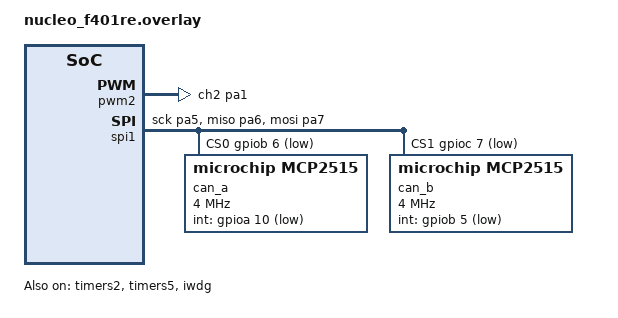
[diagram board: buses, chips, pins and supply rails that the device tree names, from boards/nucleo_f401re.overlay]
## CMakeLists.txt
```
cmake_minimum_required(VERSION 3.20.0)

set(USER_CACHE_DIR "${CMAKE_CURRENT_SOURCE_DIR}/.cache/zephyr" CACHE PATH "Zephyr cache")

if(NOT DTC_OVERLAY_FILE)
  set(DTC_OVERLAY_FILE "${CMAKE_CURRENT_SOURCE_DIR}/boards/nucleo_f401re.overlay")
endif()

find_package(Zephyr REQUIRED HINTS $ENV{ZEPHYR_BASE})
project(lab5_consensus)
include(cmake/preemptive_can.cmake)

# Generate cluster_config.h from the one configuration file every node shares.
set(LAB_CLUSTER_CONF "${CMAKE_CURRENT_SOURCE_DIR}/config/cluster.conf")
set(LAB_CONFIG_HEADER "${CMAKE_CURRENT_BINARY_DIR}/lab5_generated/cluster_config.h")
add_custom_command(
  OUTPUT ${LAB_CONFIG_HEADER}
  COMMAND ${CMAKE_COMMAND} -E env ${PYTHON_EXECUTABLE}
          "${CMAKE_CURRENT_SOURCE_DIR}/tools/gen_config.py"
          "${LAB_CLUSTER_CONF}" "${LAB_CONFIG_HEADER}"
  DEPENDS ${LAB_CLUSTER_CONF}
          "${CMAKE_CURRENT_SOURCE_DIR}/tools/gen_config.py"
          "${CMAKE_CURRENT_SOURCE_DIR}/pi/demo/cluster_config.py"
  COMMENT "Generating cluster_config.h from config/cluster.conf"
  VERBATIM)
add_custom_target(lab5_config DEPENDS ${LAB_CONFIG_HEADER})
add_dependencies(app lab5_config)

set(LAB_NODE_ID "2" CACHE STRING "Nucleo node number: 2 (front) or 3 (rear)")
if(NOT LAB_NODE_ID MATCHES "^[23]$")
  message(FATAL_ERROR "LAB_NODE_ID must be 2 or 3")
endif()
set(LAB_TRACE_TASK "-1" CACHE STRING "GPIO PC11 envelope: task index 0..8, or -1 disabled")
set(LAB_MEASURE_MODE "0" CACHE STRING "0 normal, 1 RX only, 2 N3 DRIVE, 3 N2 RELAY")
if(NOT LAB_MEASURE_MODE MATCHES "^[0-3]$")
  message(FATAL_ERROR "LAB_MEASURE_MODE must be 0..3")
endif()
if((LAB_MEASURE_MODE STREQUAL "2" AND NOT LAB_NODE_ID STREQUAL "3") OR
   (LAB_MEASURE_MODE STREQUAL "3" AND NOT LAB_NODE_ID STREQUAL "2"))
  message(FATAL_ERROR "DRIVE measurement needs N3; RELAY measurement needs N2")
endif()
target_compile_definitions(app PRIVATE LAB_MEASURE_MODE=${LAB_MEASURE_MODE})
option(LAB_DIAGNOSTICS "Enable intrusive periodic console timing summaries" OFF)
option(LAB_PIN_SELFTEST "Walk the Lab 5 outputs once at boot so each can be identified" OFF)
target_compile_definitions(app PRIVATE LAB_PIN_SELFTEST=$<BOOL:${LAB_PIN_SELFTEST}>)
target_compile_definitions(app PRIVATE LAB_DIAGNOSTICS=$<BOOL:${LAB_DIAGNOSTICS}> LAB_NODE_ID=${LAB_NODE_ID} LAB_TRACE_TASK=${LAB_TRACE_TASK})

target_sources(app PRIVATE
  src/main.c
  src/lab_protocol.c
  src/lab_io.c
  src/lab_can.c
  src/lab_tasks.c
  src/raft_agent.c
  src/raft_log.c
  src/network_state.c
  src/time_sync.c
  src/pps.c
  src/election.c
)
target_include_directories(app PRIVATE include "${CMAKE_CURRENT_BINARY_DIR}/lab5_generated")
```

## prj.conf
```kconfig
# ST-LINK virtual COM port, 115200 baud; USART1 is disabled in the overlay.
CONFIG_SERIAL=y
CONFIG_CONSOLE=y
CONFIG_UART_CONSOLE=y
CONFIG_PRINTK=y
CONFIG_LOG=y

CONFIG_GPIO=y
CONFIG_SPI=y
CONFIG_CAN=y
CONFIG_CAN_MCP2515=y
CONFIG_CAN_DEFAULT_BITRATE=500000

# Application-local CMake adaptation makes both RX workers preemptive priority 0.
CONFIG_CAN_MCP2515_INT_THREAD_PRIO=0
CONFIG_CAN_MCP2515_INT_THREAD_STACK_SIZE=1024
CONFIG_DEBUG_OPTIMIZATIONS=y
CONFIG_DEBUG_THREAD_INFO=y
CONFIG_STM32_ENABLE_DEBUG_SLEEP_STOP=y

CONFIG_PWM=y
CONFIG_WATCHDOG=y
# clock_settime(), required by Part 6. POSIX_TIMERS sits under the POSIX system
# interfaces gate, which is off by default, so both symbols are needed. This
# pulls in the clock and timer option group only; nothing else here uses POSIX.
CONFIG_POSIX_SYSTEM_INTERFACES=y
CONFIG_POSIX_TIMERS=y
CONFIG_NUM_PREEMPT_PRIORITIES=16
CONFIG_MAIN_STACK_SIZE=2048
CONFIG_SYSTEM_WORKQUEUE_STACK_SIZE=1024
CONFIG_THREAD_NAME=y
```

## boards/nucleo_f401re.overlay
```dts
#include <zephyr/dt-bindings/gpio/gpio.h>

/ {
	chosen {
		zephyr,canbus = &can_a;
	};

	aliases {
		can-a = &can_a;
		can-b = &can_b;
		/delete-property/ led0;
		/delete-property/ pwm-led0;
	};
};

/* PB6 belongs to CAN A chip select; console remains on USART2. */
&usart1 {
	status = "disabled";
};

/* PA5 belongs to SPI1 SCK; do not configure it as an LED or PWM output. */
&green_led_2 {
	status = "disabled";
};

&green_pwm_led {
	status = "disabled";
};

&timers2 {
	status = "okay";
};

&pwm2 {
	status = "okay";
	pinctrl-0 = <&tim2_ch2_pa1>;
	pinctrl-names = "default";
};

/*
 * TIM5 is the pulse per second time base and the timestamp source for the whole
 * sync path. It is 32 bit, which at the 1 MHz pps.c prescales it to wraps every
 * 71 minutes rather than the 51 seconds a 32 bit counter at the core clock
 * would give. No driver binds this node; pps.c takes the register base and the
 * clock specifier from it and configures PA0 as TIM5 channel 1 itself, because
 * the timers binding carries no pinctrl property. The pwm child stays disabled.
 */
&timers5 {
	status = "okay";
};

&spi2 {
	status = "disabled";
};

&spi1 {
	status = "okay";
	pinctrl-0 = <&spi1_sck_pa5 &spi1_miso_pa6 &spi1_mosi_pa7>;
	pinctrl-names = "default";
	cs-gpios = <&gpiob 6 (GPIO_ACTIVE_LOW | GPIO_PULL_UP)>,
		   <&gpioc 7 (GPIO_ACTIVE_LOW | GPIO_PULL_UP)>;

	can_a: can@0 {
		compatible = "microchip,mcp2515";
		reg = <0>;
		/* Requested ceiling; STM32 SPI1 divides 84 MHz to 2.625 MHz. */
		spi-max-frequency = <4000000>;
		osc-freq = <16000000>;
		bitrate = <500000>;
		int-gpios = <&gpioa 10 GPIO_ACTIVE_LOW>;
		status = "okay";

		can-transceiver {
			max-bitrate = <1000000>;
		};
	};

	can_b: can@1 {
		compatible = "microchip,mcp2515";
		reg = <1>;
		spi-max-frequency = <4000000>;
		osc-freq = <16000000>;
		bitrate = <500000>;
		int-gpios = <&gpiob 5 GPIO_ACTIVE_LOW>;
		status = "okay";

		can-transceiver {
			max-bitrate = <1000000>;
		};
	};
};

/*
 * Lab 5 outputs live on GPIOA and GPIOB as well as GPIOC, so state all three
 * explicitly rather than relying on the devicetree default.
 */
&gpioa {
	status = "okay";
};

&gpiob {
	status = "okay";
};

&gpioc {
	status = "okay";
};

/* Free trace PC9 and use the independent watchdog. */
&i2c3 {
	status = "disabled";
};

&wwdg {
	status = "disabled";
};

&iwdg {
	status = "okay";
};
```

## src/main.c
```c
/* SPDX-License-Identifier: Apache-2.0 */
/** @file main.c
 * @brief Start the task set and report the identity and configuration of this node.
 */
#include "cluster_config.h"
#include "lab_io.h"
#include "lab_protocol.h"
#include "lab_tasks.h"
#include "raft_agent.h"
#include <zephyr/sys/printk.h>

/** @brief Milliseconds each Lab 5 output is held high during the boot pin walk. */
#define SELFTEST_STEP_MS 250

/** @brief Print identity, configuration and the Lab 5 identifier allocation.
 *
 * The configuration hash must read the same on all three consoles. A node that
 * differs was flashed or started from a stale config/cluster.conf.
 */
static void banner(void)
{
	printk("\n=== Lab 5 node %d (%s) ===\n", LAB_NODE_ID, lab_node_name(LAB_NODE_ID));
	printk("config  hash=%s N=%d majority=%d leader=%s debug=%d seed=%d\n",
	       LAB5_CFG_HASH, LAB5_CFG_N, LAB5_CFG_MAJORITY,
	       LAB5_CFG_DEFAULT_LEADER_NAME, LAB5_CFG_DEBUG, LAB5_CFG_ELECTION_SEED);
	printk("timing  heartbeat=%d ms missed=%d election=%d..%d ms log_size=%d\n",
	       LAB5_CFG_HEARTBEAT_MS, LAB5_CFG_MISSED_HEARTBEATS,
	       LAB5_CFG_ELECTION_MIN_MS, LAB5_CFG_ELECTION_MAX_MS, LAB5_CFG_LOG_SIZE);
	printk("can     REF=0x%03x APPEND=0x%03x ACK=0x%03x REQ_VOTE=0x%03x\n",
	       LAB5_REF, LAB5_APPEND, lab5_id_for(LAB5_APPEND_ACK_BASE, LAB_NODE_ID),
	       lab5_id_for(LAB5_REQ_VOTE_BASE, LAB_NODE_ID));
	printk("can     VOTE=0x%03x CLIENT=0x%03x REDIRECT=0x%03x filter=0x%03x/0x%03x\n",
	       lab5_id_for(LAB5_VOTE_BASE, LAB_NODE_ID),
	       lab5_id_for(LAB5_CLIENT_REQ_BASE, LAB_NODE_ID),
	       lab5_id_for(LAB5_CLIENT_REDIRECT, LAB_NODE_ID),
	       LAB5_FILTER_ID, LAB5_FILTER_MASK);
}

/** @brief Report identity, optionally walk the new pins, then start the tasks.
 * @return Initialization status from lab_tasks_start().
 */
int main(void)
{
	banner();
	printk("NO physical actuators: simulated PID, dummy FORCE\n");
#if LAB_PIN_SELFTEST
	printk("pin walk: LEADER, SYNC, REF_RX, HZ, PPS at %d ms, twice\n",
	       SELFTEST_STEP_MS);
	lab_io_selftest(SELFTEST_STEP_MS);
#endif
	int rc = lab_tasks_start();

	printk("raft    term=%u role=%s leader=%s synced=%d\n", raft_term(),
	       raft_role() == RAFT_LEADER ? "LEADER" : "FOLLOWER",
	       lab_node_name(raft_leader()), (int)raft_synced());
	printk("Measurement mode: %d (0 = normal)\n", LAB_MEASURE_MODE);
	printk("Task startup: %d; relay node=%d\n", rc, LAB_NODE_ID);
	return rc;
}
```

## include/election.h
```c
/* SPDX-License-Identifier: Apache-2.0 */
/** @file election.h
 * @brief Deterministic election timeouts, seeded so a demo can be repeated.
 *
 * Raft breaks ties between candidates with a random election timeout. A
 * hardware entropy source would do that correctly and make the demo
 * unrepeatable, which is the wrong trade here: checkoff step 8 asks for "the
 * seed that makes the Pi win", so the draw has to be a function of something
 * the operator sets (TASKS.md D14).
 *
 * The sequence is per node: seeding mixes the configured seed with the local
 * node ID, so one seed in the shared configuration file gives each node a
 * different series of draws while every node still agrees on what the seed
 * was. `tools/find_seed.py` searches for a seed whose first draws elect a
 * chosen node.
 *
 * Pure C with no Zephyr dependency, so the host tests run it directly and the
 * Pi mirrors it exactly.
 */
#ifndef ELECTION_H_
#define ELECTION_H_
#include <stdint.h>
/** @brief Start the per node sequence.
 * @param state Generator state to initialize.
 * @param seed Configured seed, shared by every node.
 * @param node Local node ID, which makes the sequence differ per node.
 */
void election_seed(uint32_t *state, uint32_t seed, int node);
/** @brief Draw the next election timeout.
 *
 * The handout's formula: missed_heartbeats * heartbeat_ms + U(0, jitter), so
 * 60 to 99 ms with the defaults. Drawn fresh for every election round, because
 * a timeout reused across rounds would make two nodes that collided once
 * collide again forever.
 * @param state Generator state, advanced in place.
 * @param base_ms Fixed part, missed_heartbeats * heartbeat_ms.
 * @param jitter_ms Width of the random part; zero gives base_ms exactly.
 * @return Timeout in milliseconds.
 */
uint32_t election_timeout_ms(uint32_t *state, uint32_t base_ms, uint32_t jitter_ms);
#endif
```

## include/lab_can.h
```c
/* SPDX-License-Identifier: Apache-2.0 */
/** @file lab_can.h
 * @brief Bounded dual-CAN transport; application dispatch owns deduplication.
 */
#ifndef LAB_CAN_H_
#define LAB_CAN_H_
#include <zephyr/drivers/can.h>
/** @brief Received frame with physical bus and callback timestamps.
 *
 * `cycles` is the TIM5 microsecond counter that also drives the PPS compare,
 * taken as the first statement of the receive callback, which runs
 * in the MCP2515 driver's interrupt thread at preemptive priority zero. That is
 * the earliest point software can reach: the MCP2515 has no timestamp register
 * readable without a further SPI transaction, so the SPI read of the frame is
 * already behind us and is folded into the one way delay estimate instead
 * (TASKS.md D17). Cycle resolution is the CPU clock, and only differences are
 * ever taken, so the 32 bit wrap at about 51 seconds never matters.
 */
struct lab_rx {
	struct can_frame frame; int64_t time_ms; uint32_t cycles; uint8_t bus;
};
/** @brief Initialize both normal-mode controllers and catalog filters.
 * @return Zero or initialization failure; starts independent TX workers.
 */
int lab_can_init(void);
/** @brief Take a queued frame from the RX worker callbacks.
 * @param rx Destination.
 * @param timeout Kernel timeout.
 * @return Queue result.
 */
int lab_can_receive(struct lab_rx *rx, k_timeout_t timeout);
/** @brief Send one logical frame into both bus queues, assigning one sequence.
 * @param id Catalog ID (one producer per ID).
 * @param data Eight-byte payload; byte zero/CTRL CRC filled here.
 */
void lab_can_send(uint16_t id, uint8_t data[8]);
/** @brief Send a Lab 5 frame onto both buses with the payload untouched.
 *
 * lab_can_send() stamps a Lab 3 sequence number into byte zero and refuses any
 * identifier outside the Lab 3 catalog, so consensus and time frames, whose
 * every byte is payload, go out through this path instead.
 * @param id Lab 5 identifier from enum lab5_id.
 * @param data Eight bytes, sent exactly as given.
 */
void lab_can_send_lab5(uint16_t id, const uint8_t data[8]);
/** @brief Report whether this node's own link to one bus is transmitting cleanly.
 *
 * Reads the controller's error state rather than inferring from missing peer
 * traffic, so it answers "is my branch connected" rather than "is anyone
 * talking". Pulling this node's jumper leaves its transceiver unacknowledged,
 * which drives the controller error passive and then bus off. That is the
 * signal the owner-reports-own-links rule needs (TASKS.md D15).
 *
 * Healthy means **a frame was heard on that bus within the last 100 ms**. The
 * controller's error counters are not used: the TX worker resets the
 * controller after every unacknowledged frame, which clears them, so on a
 * disconnected branch they read healthy most of the time. See lab_can.c.
 * @param bus Physical index 0 for A, 1 for B.
 * @return True when a frame was received on that bus within the last 100 ms.
 */
bool lab_can_link_healthy(int bus);
/** @brief Report whether any frame arrived on either bus within a window.
 * @param window_ms Window length in milliseconds.
 * @return True when this node heard something on at least one bus.
 */
bool lab_can_heard_within(uint32_t window_ms);
/** @brief Read the controller's state and error counters, for diagnosis.
 *
 * A link reported down is either a real electrical fault or a detection
 * threshold set too tight, and those want completely different fixes. Printing
 * the counters at the moment of the report settles which it is without a
 * scope: the transmit counter rises by eight per failed transmission, so a
 * value near the limit means a dozen consecutive failures rather than noise.
 * @param bus Physical index 0 for A, 1 for B.
 * @param state Destination for enum can_state, or -1 when unreadable.
 * @param tx_errors Destination for the transmit error counter.
 * @param rx_errors Destination for the receive error counter.
 */
void lab_can_link_state(int bus, int *state, int *tx_errors, int *rx_errors);
/** @brief Return total dropped software RX frames.
 * @return Overflow count.
 */
uint32_t lab_can_drops(void);
/** @brief Read send failures (including aborted frames).
 * @param bus Physical index 0=A, 1=B.
 * @return Failure count.
 */
uint32_t lab_can_tx_errors(int bus);
/** @brief Forward unchanged bytes to a single bus from the local relay worker.
 * @param frame Original received frame.
 * @param bus Destination bus 0 or 1.
 * @param received_ms Original local receive timestamp.
 * @return Zero or queue error.
 */
int lab_can_forward(const struct can_frame *frame, int bus, int64_t received_ms);
/** @brief Check both TX workers for watchdog supervision (single caller).
 * @return True if both progressed since the previous call.
 */
bool lab_can_workers_alive(void);
#endif
```

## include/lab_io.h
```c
/* SPDX-License-Identifier: Apache-2.0 */
/** @file lab_io.h
 * @brief Scope-only outputs and trace points; no actuator connection required.
 */
#ifndef LAB_IO_H_
#define LAB_IO_H_
#include <stdbool.h>
#include <stdint.h>
/** @brief Logical outputs in the pin table in docs/DEMO_WIRING.md.
 *
 * The first thirteen are the Lab 3 set and keep their order, because other
 * modules index this enum. The Lab 5 additions are appended: LAB_LEADER and
 * LAB_SYNC are status LEDs, LAB_REF_RX toggles on each received reference
 * frame, LAB_HZ marks the hazard phase, and LAB_PPS carries the pulse per
 * second. LAB_PPS is driven directly only for bring-up; from P7 a hardware
 * timer compare owns it.
 */
enum lab_pin { LAB_RX_A, LAB_RX_B, LAB_TX_A, LAB_TX_B, LAB_DEG_A, LAB_DEG_B,
	LAB_PWM_SET, LAB_DIR, LAB_LEFT, LAB_RIGHT, LAB_ERR, LAB_RELAY, LAB_TRACE,
	LAB_LEADER, LAB_SYNC, LAB_REF_RX, LAB_HZ, LAB_PPS, LAB_PIN_COUNT };
/** @brief First Lab 5 output, so bring-up can walk just the new pins. */
#define LAB_PIN_FIRST_LAB5 LAB_LEADER
/** @brief Initialize pins, PWM, and user-button interrupt.
 * @param button_callback Nonblocking callback executed in GPIO ISR context.
 * @return Zero or a driver error.
 */
int lab_io_init(void (*button_callback)(void));
/** @brief Set a test output (thread context).
 * @param pin Logical pin.
 * @param value Output level.
 */
void lab_io_set(enum lab_pin pin, bool value);
/** @brief Toggle a marker (thread context).
 * @param pin Logical pin.
 */
void lab_io_toggle(enum lab_pin pin);
/** @brief Set TIM2 CH2 on PA1; scope only.
 * @param period_ns PWM period in nanoseconds.
 * @param pulse_ns High interval in nanoseconds.
 * @return Driver result.
 */
int lab_io_pwm(uint32_t period_ns, uint32_t pulse_ns);
/** @brief Walk the Lab 5 outputs one at a time so each can be identified.
 *
 * Blocking, intended for boot before the task set starts. Configures the Lab 5
 * pins itself, so it does not depend on lab_io_init() having run, then drives
 * each one high alone for @p step_ms, twice, leaving all of them low.
 * @param step_ms Time each pin stays high, in milliseconds.
 */
void lab_io_selftest(uint32_t step_ms);
/** @brief Return whether any GPIO operation failed.
 * @return Latched I/O error.
 */
bool lab_io_failed(void);
#endif
```

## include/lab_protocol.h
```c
/* SPDX-License-Identifier: Apache-2.0 */
/** @file lab_protocol.h
 * @brief Shared catalog and pure payload validation.
 */
#ifndef LAB_PROTOCOL_H_
#define LAB_PROTOCOL_H_
#include <stdbool.h>
#include <stddef.h>
#include <stdint.h>
/** @brief Seven Lab 3 template IDs; FAULT carries its originating zone in byte 1. */
enum lab_id { LAB_CTRL = 0x010, LAB_FAULT = 0x020, LAB_HB1 = 0x100,
	LAB_HB2 = 0x101, LAB_HB3 = 0x102, LAB_BLINK = 0x200, LAB_FORCE = 0x300 };
/** @brief Numeric node IDs; the index into the configured nodes list plus one. */
enum lab_node { LAB_NODE_COCKPIT = 1, LAB_NODE_STEERING = 2, LAB_NODE_DRIVETRAIN = 3 };
/** @brief Lab 5 consensus and time identifiers.
 *
 * REF sits below LAB_CTRL so the clock reference wins arbitration against every
 * other frame, including APPEND, as Part 6 requires. Everything else sits above
 * LAB_FAULT so safety traffic still outranks consensus. The four per-node bases
 * are added to a node ID from enum lab_node, because lab_can_send() numbers a
 * sequence per identifier and so allows only one producer per ID. Each base is
 * four-aligned and base + 0 stays unused, so node slots never run into the next
 * base. Transmitted IDs are therefore 0x040, 0x045..0x047, 0x049..0x04b,
 * 0x04d..0x04f, 0x051..0x053 and 0x054, all inside the masked filter range.
 */
enum lab5_id { LAB5_REF = 0x008, LAB5_APPEND = 0x040, LAB5_APPEND_ACK_BASE = 0x044,
	LAB5_REQ_VOTE_BASE = 0x048, LAB5_VOTE_BASE = 0x04c,
	LAB5_CLIENT_REQ_BASE = 0x050, LAB5_CLIENT_REDIRECT = 0x054 };
/* CLIENT_REDIRECT is a per-sender base: replies use 0x055..0x057.
 * Followers and leader can reply together, so they must arbitrate on unique IDs.
 */
/** @brief Masked filter covering every consensus ID in one RX filter slot.
 *
 * The MCP2515 driver offers 16 software filter slots and Lab 3 already uses
 * seven, so the eleven consensus identifiers are accepted as the single range
 * 0x040..0x05f instead of one slot each.
 */
enum lab5_filter { LAB5_FILTER_ID = 0x040, LAB5_FILTER_MASK = 0x7e0 };
/** @brief Identifier bit marking a frame as a relayed copy.
 *
 * The relay flag lives in the identifier rather than the payload, for three
 * reasons. Every Lab 5 payload is already full to eight bytes. A flag in the
 * identifier is visible in a `candump` without decoding anything, which the
 * checkoff reads directly. And it costs nothing to filter on.
 *
 * It is a high bit, so a relayed copy sorts **below** every original frame in
 * arbitration. That is the right priority: a relayed copy is by definition a
 * second chance at something, and it must never delay first-hand traffic. Lab
 * 3's catalog tops out at 0x300, so 0x400 and above is free.
 *
 * A node never relays a frame that already carries this bit, which is the whole
 * loop prevention: exactly one hop, and with three nodes one hop always
 * suffices (TASKS.md D24).
 */
#define LAB5_RELAY_FLAG 0x400U
/** @brief Shift of the relaying node's ID within a relayed identifier.
 *
 * Two nodes can hold both links at once, and then both relay. If every copy
 * travelled under one shared identifier they would collide destructively: CAN
 * arbitrates on the identifier alone, so two frames sharing an ID and
 * differing in the data field leave the node sending recessive while reading
 * dominant with a bit error, and the transmit counter rises by eight for both.
 * Their queues are offset by a few hundred microseconds, so they relay
 * different frames at the same moment routinely.
 *
 * On the bench this appeared the moment the cockpit came off bus B: a frame
 * originating on bus A was then relayed onto B by **both** Nucleos, while a
 * frame originating on B had only one relayer left for A. Errors appeared on
 * bus B and never on A, with the transmit counter reaching 128 and the receive
 * counter staying at zero, which is the signature of a node losing a bit
 * contest during its own transmission.
 *
 * Carrying the relayer in the identifier makes the two copies arbitrate
 * normally instead: one wins, the other defers and retries.
 */
#define LAB5_RELAY_NODE_SHIFT 8U
/** @brief Mask of the relaying node's ID within a relayed identifier. */
#define LAB5_RELAY_NODE_MASK 0x3U
/** @brief Report whether a frame is a relayed copy.
 * @param id CAN identifier as received.
 * @return True when the relay flag is set.
 */
static inline bool lab5_is_relayed(uint32_t id)
{
	return (id & LAB5_RELAY_FLAG) != 0;
}
/** @brief Identifier a relayed copy of a frame travels under.
 * @param id Original identifier.
 * @param node Node ID doing the relaying.
 * @return Identifier carrying the relay flag and the relayer.
 */
static inline uint32_t lab5_relay_id(uint32_t id, int node)
{
	return LAB5_RELAY_FLAG |
		((uint32_t)((node - 1) & LAB5_RELAY_NODE_MASK) <<
		 LAB5_RELAY_NODE_SHIFT) | id;
}
/** @brief Original identifier of a possibly relayed frame.
 * @param id CAN identifier as received.
 * @return Identifier with the relay flag and relayer cleared.
 */
static inline uint32_t lab5_origin_id(uint32_t id)
{
	return id & ~(LAB5_RELAY_FLAG |
		      ((uint32_t)LAB5_RELAY_NODE_MASK << LAB5_RELAY_NODE_SHIFT));
}
/** @brief Node that relayed a frame.
 * @param id CAN identifier as received.
 * @return Relaying node ID, meaningless when the frame is not relayed.
 */
static inline int lab5_relay_node(uint32_t id)
{
	return (int)((id >> LAB5_RELAY_NODE_SHIFT) & LAB5_RELAY_NODE_MASK) + 1;
}
/** @brief Decoded REF payload: the master's clock, cycle counter and identity.
 *
 * Wire layout, little endian: bytes 0..5 are the master clock in microseconds
 * **since LAB5_EPOCH_US** as a 48 bit unsigned value, bytes 6 and the low six
 * bits of byte 7 are a 14 bit cycle counter, and the top two bits of byte 7
 * carry the master's node ID minus one.
 *
 * The epoch offset matters: a CLOCK_REALTIME value in 2026 is about 1.8e15
 * microseconds, which needs 51 bits and would be silently truncated to a 1973
 * date. Measuring from a fixed recent epoch keeps microsecond resolution, the
 * unit the PPS spread is reported in.
 *
 * The identity matters because REF and APPEND share one identifier each and
 * neither otherwise names its sender. With a pre-defined leader that is
 * harmless, but `default_leader=random` boots every node with no leader known,
 * and two behaviours key off who the master is: the one way delay constant,
 * which belongs to the master's transmit path rather than to the bus, and the
 * hazard rate, which is 2 Hz while the cockpit leads and 4 Hz once an STM32
 * does. Checkoff steps 6 and 8 read both.
 *
 * The counter gave up the two bits because it has them to spare: at 14 bits it
 * still wraps only every 16384 heartbeats, five and a half minutes, which is
 * far longer than any gap it is meant to detect.
 */
struct lab5_ref { uint64_t master_us; uint16_t cycle; int master; };
/** @brief Bits of the REF payload given to the cycle counter. */
#define LAB5_REF_CYCLE_BITS 14
/** @brief Largest cycle value the REF payload can carry. */
#define LAB5_REF_CYCLE_MAX ((1U << LAB5_REF_CYCLE_BITS) - 1U)
/** @brief Decoded AppendEntries header.
 *
 * Wire layout, little endian: byte 0 the leader's term, bytes 1..2 prevLogIndex
 * in the low fifteen bits with the entry count in bit fifteen, byte 3
 * prevLogTerm, bytes 4..5 leaderCommit in the low fifteen bits, byte 6 the
 * **carried entry's own term**, byte 7 its event. Fifteen bits of index covers
 * the configured log_size of 30000, and the count is one bit because an append
 * carries at most one entry.
 *
 * The entry's term is not the leader's term and the two must not be conflated.
 * This originally carried only the event and left a follower to stamp what it
 * stored with the header's term, which is correct exactly as long as the
 * cluster never changes term: an entry written under an earlier leader would be
 * recorded under the current one, so the next consistency check on that index
 * compares the leader's real prevLogTerm against the follower's rewritten one,
 * fails, truncates, refills and fails again. On the bench that deadlocked both
 * Nucleos into storing index 1 for ever and emptied the committed graph. One
 * entry needs its own term on the wire; the bits came from the two index fields
 * and the count, which were wider than they ever needed to be.
 */
struct lab5_append { uint8_t term; uint16_t prev_index; uint8_t prev_term;
	uint16_t commit; uint8_t count; uint8_t entry_term; uint8_t event; };
/** @brief Largest log index the AppendEntries header can carry. */
#define LAB5_APPEND_INDEX_MAX 0x7fffU
/** @brief Zero point of the REF clock field: 2026-01-01T00:00:00Z in microseconds.
 *
 * The 48 bit field spans about 8.9 years from here, so it covers the course and
 * then some. Both endpoints must use this same constant.
 */
/** @brief One way delay from the master stamping L to a node capturing F.
 *
 * Indexed by the master's node ID, because this delay belongs to the master's
 * transmit path and not to the bus. Measured on the bench with the Pi leading:
 * differencing the scope gap between the Pi's PPS edge and a Nucleo's against
 * the Pi's own self reported scheduling lateness gives about 658 microseconds,
 * of which only 256 is time on the wire. The rest is Python, the socket, the
 * SocketCAN queue, the mcp251x workqueue and a 4 MHz SPI transaction standing
 * between the timestamp and the first bit transmitted.
 *
 * The STM32 figure is not measured yet and is a calculation: 256 microseconds
 * on the wire, a transmit worker handoff, and two SPI transactions. P9 measures
 * it the same way, and more easily, since a master applies no delay to its own
 * edge, so the gap to a follower is the error directly.
 */
enum lab5_delay {
	LAB5_DELAY_COCKPIT_US = 658,
	LAB5_DELAY_STM32_US = 400,
};
/** @brief Extra one way delay added when a reference arrived by relay.
 *
 * Checkoff steps 5 and 9 pull two links so a node is reachable only through a
 * third one, which means its REF now arrives as a relayed copy: queued by the
 * bridging node, picked up by a separate thread, and retransmitted on the other
 * bus. That adds real transit time the per-master constants above were never
 * calibrated to include, because they were measured from direct reception.
 *
 * Measured on the bench as the FL/RL skew between a directly synced node and
 * one reachable only by relay, with the master's own constant already applied:
 * mean 1.966 ms, standard deviation 0.23 ms, in the exact two-link-pulled
 * topology step 5 specifies. A directly synced pair had already measured in
 * the tens of microseconds, so that skew is attributable almost entirely to
 * the relay hop and not to residual error in the base constant, which is why
 * it is added on top of whichever master delay applies rather than replacing
 * it: the two delays are physically in series, master transmit then relay
 * transmit, and the model should say so.
 *
 * Without this, the relay path meets checkoff step 5's "wheel still steers,
 * blinks and brakes" but misses its "FL and RL still within 1 ms" by about a
 * factor of two.
 */
#define LAB5_RELAY_DELAY_US 2000U

/**
 * @brief Receive silence, in ms, after which a node treats itself as cut off
 * and does not stand for election.
 *
 * Checkoff step 10 requires the term to change only if the isolated node was
 * the leader. Plain Raft fails that: an isolated follower times out every 60 to
 * 99 ms, raises its term each time, and when reconnected its higher term makes
 * the leader step down. Every live node heartbeats on both buses every 20 ms,
 * so a node that has heard nothing for 30 ms is cut off and could not win
 * anyway. Shorter than the 60 ms minimum election timeout so the guard is in
 * place before the first timeout fires. Must match ISOLATION_WINDOW in
 * pi/demo/raft_agent.py.
 */
#define LAB5_ISOLATION_MS 30U

/**
 * @brief Silence from a peer, in ms, after which the leader records it down.
 *
 * The handout's event table has the leader append NODE_X_DOWN when node X goes
 * down, and nothing else can: a node cut off from both buses cannot reach the
 * leader to report itself. Any frame from the peer counts, heartbeat or
 * consensus, so a node with a latched local failure, which stops heartbeating
 * but still acknowledges appends at least every 200 ms, is not dropped. Must
 * match PEER_DOWN in pi/demo/raft_agent.py.
 */
#define LAB5_PEER_DOWN_MS 500U

/**
 * @brief Silence on both buses, in ms, after which a node forgets its own
 * reported state and re-reports itself on reconnection.
 *
 * Longer than LAB5_PEER_DOWN_MS, so by the time a cut-off node resets, the
 * leader has already recorded it down; on reconnection it reports NODE_X_UP and
 * then each link it can hear, exactly as at boot, instead of delivering a stale
 * report it was holding. Must match ISOLATED_RESET in pi/demo/raft_agent.py.
 */
#define LAB5_ISOLATED_RESET_MS 600U

#define LAB5_EPOCH_US 1767225600000000ULL
/** @brief Decoded AppendEntries acknowledgement.
 *
 * Wire layout, little endian: byte 0 the follower's term, bytes 1..2 the
 * highest index it now matches the leader on, byte 3 the outcome from
 * enum raft_append_result. A CAN frame ack only means someone heard the frame,
 * so step 5 of the client write path needs this separate frame per follower
 * (TASKS.md D10); the identifier carries which follower it came from.
 */
struct lab5_ack { uint8_t term; uint16_t match_index; uint8_t result; };
/** @brief A client asking the leader to record one event.
 *
 * Wire layout: byte 0 the event, bytes 1..2 a request id the client chooses so
 * it can match the reply. The identifier says which node asked.
 */
struct lab5_client { uint8_t event; uint16_t request; };
/** @brief The leader's reply to a client, carrying either a commit or a redirect.
 *
 * Wire layout: byte 0 the result, byte 1 the node believed to be leader,
 * bytes 2..3 the request id, bytes 4..5 the index the entry was given, byte 6
 * the node being answered. A client that reached a follower gets
 * LAB5_REPLY_REDIRECT naming the leader, which is step 6 of the write path
 * failing closed rather than silently.
 *
 * The target node is not redundant. One identifier carries every reply, and
 * clients number their own requests independently, so two followers routinely
 * have a request id 1 outstanding at once. Without the target, one client's
 * acknowledgement clears the other's pending write and that entry is lost.
 */
struct lab5_reply {
	uint8_t result; uint8_t leader; uint16_t request; uint16_t index; uint8_t node;
};
/** @brief Reply results. */
enum lab5_reply_result { LAB5_REPLY_COMMITTED = 0, LAB5_REPLY_REDIRECT = 1 };
/** @brief A candidate asking for a vote.
 *
 * Wire layout, little endian: byte 0 the candidate's term, bytes 1..2 the index
 * of the last entry in its log, byte 3 that entry's term. The identifier says
 * which node is standing, so no candidate field is needed.
 *
 * The log fields are what stop a node that missed entries from winning. Raft
 * grants a vote only to a candidate whose log is at least as up to date as the
 * voter's, which is what guarantees a committed entry survives an election.
 * Here that matters directly: an STM32 that was isolated has a short log, and
 * electing it would lose link state the rest of the cluster had agreed on.
 */
struct lab5_vote_request { uint8_t term; uint16_t last_index; uint8_t last_term; };
/** @brief A vote, granted or refused.
 *
 * Wire layout: byte 0 the voter's term, byte 1 nonzero when granted, byte 2 the
 * candidate being answered. The identifier carries which node voted.
 *
 * The candidate field is needed for the same reason the reply frame carries a
 * target: two candidates can stand in the same term, and a vote meant for one
 * must not count towards the other's majority.
 */
struct lab5_vote { uint8_t term; uint8_t granted; uint8_t candidate; };
/** @brief Largest offset from LAB5_EPOCH_US the 48 bit REF field can carry. */
#define LAB5_REF_US_MAX 0xffffffffffffULL
/** @brief Central timing choices in milliseconds; recovery is measured separately. */
enum lab_time { LAB_HB_MS = 20, LAB_TIMEOUT_MS = 60, LAB_PID_MS = 10,
	LAB_FORCE_MS = 50, LAB_BLINK_MS = 500, LAB_DEDUP_MS = 200 };
/** @brief Failure reasons carried by FAULT. */
enum lab_reason { LAB_TEST = 1, LAB_RANGE, LAB_QUEUE, LAB_IO };
/** @brief Decoded command: steering -1000..1000 and pedals 0..100 percent. */
struct lab_control { int16_t steer; uint8_t throttle; uint8_t brake; uint8_t buttons; };
/** @brief CRC-8/ATM (poly 0x07, init 0, no reflection/xor).
 * @param data Bytes to cover.
 * @param size Byte count.
 * @return CRC byte.
 */
uint8_t lab_crc(const uint8_t *data, size_t size);
/** @brief Map catalog ID to a compact slot.
 * @param id Standard identifier.
 * @return Slot 0..6 or -1 for unknown.
 */
int lab_slot(uint32_t id);
/** @brief Validate reserved bytes, flags, ranges and CTRL CRC.
 * @param id Identifier.
 * @param data Eight bytes.
 * @return True for a valid catalog payload.
 */
bool lab_valid(uint32_t id, const uint8_t data[8]);
/** @brief Decode an already validated CTRL payload.
 * @param data Eight bytes.
 * @return Command in team-defined units.
 */
struct lab_control lab_decode(const uint8_t data[8]);
/** @brief Encode a REF payload.
 * @param data Eight bytes to fill.
 * @param master_us Leader clock in microseconds; only the low 48 bits travel.
 * @param cycle Cycle counter, wrapping at LAB5_REF_CYCLE_BITS bits.
 * @param master Node ID of the transmitting master.
 */
void lab5_ref_encode(uint8_t data[8], uint64_t master_us, uint16_t cycle, int master);
/** @brief Decode a REF payload.
 * @param data Eight received bytes.
 * @return Master clock and cycle counter.
 */
struct lab5_ref lab5_ref_decode(const uint8_t data[8]);
/** @brief Encode an AppendEntries header.
 * @param data Eight bytes to fill.
 * @param header Fields to encode; count zero means an empty append.
 */
void lab5_append_encode(uint8_t data[8], const struct lab5_append *header);
/** @brief Decode an AppendEntries header.
 * @param data Eight received bytes.
 * @return Decoded fields.
 */
struct lab5_append lab5_append_decode(const uint8_t data[8]);
/** @brief Encode an AppendEntries acknowledgement.
 * @param data Eight bytes to fill.
 * @param ack Fields to encode.
 */
void lab5_ack_encode(uint8_t data[8], const struct lab5_ack *ack);
/** @brief Decode an AppendEntries acknowledgement.
 * @param data Eight received bytes.
 * @return Decoded fields.
 */
struct lab5_ack lab5_ack_decode(const uint8_t data[8]);
/** @brief Encode a client request.
 * @param data Eight bytes to fill.
 * @param request Fields to encode.
 */
void lab5_client_encode(uint8_t data[8], const struct lab5_client *request);
/** @brief Decode a client request.
 * @param data Eight received bytes.
 * @return Decoded fields.
 */
struct lab5_client lab5_client_decode(const uint8_t data[8]);
/** @brief Encode a leader reply.
 * @param data Eight bytes to fill.
 * @param reply Fields to encode.
 */
void lab5_reply_encode(uint8_t data[8], const struct lab5_reply *reply);
/** @brief Decode a leader reply.
 * @param data Eight received bytes.
 * @return Decoded fields.
 */
struct lab5_reply lab5_reply_decode(const uint8_t data[8]);
/** @brief Encode a vote request.
 * @param data Eight bytes to fill.
 * @param request Request to encode.
 */
void lab5_vote_request_encode(uint8_t data[8], const struct lab5_vote_request *request);
/** @brief Decode a vote request.
 * @param data Eight received bytes.
 * @return Decoded request.
 */
struct lab5_vote_request lab5_vote_request_decode(const uint8_t data[8]);
/** @brief Encode a vote.
 * @param data Eight bytes to fill.
 * @param vote Vote to encode.
 */
void lab5_vote_encode(uint8_t data[8], const struct lab5_vote *vote);
/** @brief Decode a vote.
 * @param data Eight received bytes.
 * @return Decoded vote.
 */
struct lab5_vote lab5_vote_decode(const uint8_t data[8]);
/** @brief Build a per-node Lab 5 identifier.
 * @param base One of the LAB5_*_BASE values.
 * @param node Node ID from enum lab_node.
 * @return Identifier owned by that node.
 */
uint16_t lab5_id_for(uint16_t base, int node);
/** @brief Recognize any Lab 5 consensus identifier, REF excluded.
 * @param id CAN identifier.
 * @return True when the ID falls in the consensus range.
 */
bool lab5_is_consensus(uint32_t id);
/** @brief Map a node ID to its configured name.
 * @param node Node ID from enum lab_node.
 * @return Lowercase name, or "?" when out of range.
 */
const char *lab_node_name(int node);
/** @brief Identify the shared FAULT message.
 * @param id CAN identifier.
 * @return True for 0x020.
 */
bool lab_is_fault(uint32_t id);
/** @brief Map a validated catalog frame to its sole originating node.
 * @param id Catalog identifier.
 * @param data Validated eight-byte payload, including the FAULT zone.
 * @return Node 1..3, or zero for unknown ID.
 */
int lab_origin(uint32_t id, const uint8_t data[8]);
#endif
```

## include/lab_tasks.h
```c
/* SPDX-License-Identifier: Apache-2.0 */
/** @file lab_tasks.h
 * @brief Preemptive template task set and simulated actuator workload.
 */
#ifndef LAB_TASKS_H_
#define LAB_TASKS_H_
/** @brief Initialize outputs, CAN, watchdog and task threads from main.
 * @return Zero on success, negative initialization error otherwise.
 */
int lab_tasks_start(void);
#endif
```

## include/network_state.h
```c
/* SPDX-License-Identifier: Apache-2.0 */
/** @file network_state.h
 * @brief The Raft state machine: the network graph built by replaying the log.
 *
 * Pure C with no Zephyr dependency, so the host tests exercise the same code
 * the firmware runs. The state machine is a pure function of the log: nothing
 * here may be changed except by applying an entry, and replaying the same log
 * on any node must produce the same graph.
 */
#ifndef NETWORK_STATE_H_
#define NETWORK_STATE_H_
#include "raft_log.h"
#include <stdbool.h>
#include <stddef.h>
#include <stdint.h>
/** @brief Nodes in the cluster. */
#define NETWORK_NODES 3
/** @brief CAN buses each node attaches to. */
#define NETWORK_BUSES 2
/** @brief Characters a printed graph needs, including the terminator. */
#define NETWORK_PRINT_SIZE 64
/** @brief The whole network graph, plus the vehicle failure mode.
 *
 * Three nodes and six links fit in two bitmasks (TASKS.md D9), which makes the
 * state trivial to compare between nodes at the demo: one line of text per node
 * that must match character for character. Bit n-1 of nodes is node n; bit
 * (n-1)*2 + (b-1) of links is node n on bus b. A link bit is only meaningful
 * while its node bit is set, since dropNode removes a node's links with it.
 */
struct network { uint8_t nodes; uint8_t links; bool failure_mode; };
/** @brief Reset to the empty graph, which is what an empty log replays to.
 * @param net Graph to clear.
 */
void network_reset(struct network *net);
/** @brief Mark the link between a node and a bus up, adding it if absent.
 * @param net Graph to change.
 * @param node Node ID 1..3.
 * @param bus Bus number 1 or 2.
 */
void network_add_link(struct network *net, int node, int bus);
/** @brief Mark that link down. The node and the bus stay in the graph.
 * @param net Graph to change.
 * @param node Node ID 1..3.
 * @param bus Bus number 1 or 2.
 */
void network_drop_link(struct network *net, int node, int bus);
/** @brief Add a node, or mark it alive again, with no links until addLink runs.
 * @param net Graph to change.
 * @param node Node ID 1..3.
 */
void network_add_node(struct network *net, int node);
/** @brief Remove a node and every link attached to it.
 * @param net Graph to change.
 * @param node Node ID 1..3.
 */
void network_drop_node(struct network *net, int node);
/** @brief Read the whole graph, as the Raft client does to build its routes.
 * @param net Graph to read.
 * @return Copy of the current graph.
 */
struct network network_get(const struct network *net);
/** @brief Apply one event. The only way the graph may change during replay.
 * @param net Graph to change.
 * @param event Encoded event from enum raft_event.
 */
void network_apply(struct network *net, uint8_t event);
/** @brief Rebuild the graph from the log, up to and including one index.
 *
 * Replays from the oldest retained entry, so with a full ring the result
 * depends on the retained window. The whole log is replayed when through is
 * zero or beyond the last index.
 * @param net Destination graph.
 * @param log Log to replay.
 * @param through Last index to apply, or 0 for the whole log.
 */
void network_replay(struct network *net, const struct raft_log *log, uint32_t through);
/** @brief Report whether a node is up.
 * @param net Graph to read.
 * @param node Node ID 1..3.
 * @return True when the node is in the graph and alive.
 */
bool network_node_up(const struct network *net, int node);
/** @brief Report whether the committed log puts the vehicle in failure mode.
 * @param net Network state.
 * @return True when the cockpit is recorded as down.
 */
bool network_failure_mode(const struct network *net);
/** @brief Report whether a node's link to a bus is up.
 * @param net Graph to read.
 * @param node Node ID 1..3.
 * @param bus Bus number 1 or 2.
 * @return True when the node is up and that link is up.
 */
bool network_link_up(const struct network *net, int node, int bus);
/** @brief One destination's entry in a node's routing table.
 *
 * With three nodes and two buses the table is this small: either a bus to send
 * on directly, or a node to relay through. Part 5.1 says each node distils the
 * graph into the subset it needs, and this is that subset.
 */
struct network_route { int bus; int relay; bool reachable; };
/** @brief Work out how one node reaches another from the committed graph.
 *
 * Prefers a bus both ends are on. Failing that, looks for a single node that
 * shares a bus with each end, which is the relayed hop of Part 5.2; with three
 * nodes one hop always suffices. The lowest numbered bus and relay are chosen
 * so every node derives the same table from the same log.
 * @param net Graph to read.
 * @param from Sending node ID.
 * @param to Destination node ID.
 * @return Route; reachable is false when no path exists.
 */
struct network_route network_route_to(const struct network *net, int from, int to);
/** @brief Render the graph as one comparable line.
 *
 * Format: "net nodes=CSD links=c1c2s1s2d1d2 mode=OK", where each node position
 * is its initial when up and a dot when down, each link position is 1 or 2 when
 * up and a dot when down. Every node prints the same characters for the same
 * log, which is what the demo compares.
 * @param net Graph to render.
 * @param out Destination buffer.
 * @param size Size of out, at least NETWORK_PRINT_SIZE.
 */
void network_print(const struct network *net, char *out, size_t size);
/** @brief Compare two graphs.
 * @param a First graph.
 * @param b Second graph.
 * @return True when both describe the same network and mode.
 */
bool network_equal(const struct network *a, const struct network *b);
#endif
```

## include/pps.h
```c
/* SPDX-License-Identifier: Apache-2.0 */
/** @file pps.h
 * @brief Pulse per second on PA0, generated by hardware output compare.
 *
 * TIM5 free runs at 1 MHz and its channel 1 output drives PA0 directly, so the
 * edge the scope sees is produced by the timer comparator with no instruction
 * executed at that instant. Part 7 forbids polling the global clock to find the
 * edge, and an interrupt that sets a GPIO would be only marginally better: with
 * two CAN receive workers running preemptive at priority 0, interrupt latency
 * is a few microseconds and is not bounded. The measurement this lab is graded
 * on is edge spread, so nothing software-timed belongs in that path.
 *
 * The same counter is the timestamp source for the whole sync path. F_k has to
 * be expressed in the units the compare register takes, or every arming adds a
 * conversion and its error. One microsecond of resolution is far below the
 * receive jitter measured in P6, so nothing is lost (TASKS.md D21).
 */
#ifndef PPS_H_
#define PPS_H_
#include <stdbool.h>
#include <stdint.h>
/** @brief Ticks per second of the PPS time base. */
#define PPS_TICK_HZ 1000000U
/** @brief Start the counter and claim PA0 as the compare output.
 * @return Zero, or a negative error.
 */
int pps_init(void);
/** @brief Read the free running counter.
 *
 * Safe from any context, including an interrupt, and is a single register read.
 * @return Counter value in microseconds, wrapping at 32 bits.
 */
uint32_t pps_now(void);
/** @brief Report whether the counter is running.
 * @return True once pps_init() has succeeded.
 */
bool pps_ready(void);
/** @brief Schedule the next edge and keep scheduling after it.
 *
 * Called once a global timeline exists. Each edge rearms the next from the
 * current estimate, so the schedule follows the master rather than free
 * running from the first edge.
 */
void pps_start(void);
/** @brief Recompute the armed deadline from a fresher reference.
 *
 * Called periodically from a thread. The edge is first armed from the falling
 * edge of the previous pulse, nearly a second ahead, and any error in the drift
 * ratio is multiplied by that whole second: one LSB of the Q16.16 ratio is
 * 15.26 ppm, which over 990 ms is 15 microseconds, and that accounted for
 * essentially all of the 19.5 microsecond spread first measured between the two
 * Nucleos. The blink task, which re-enters its deadline sleep within 20 ms of
 * every edge, measured six times better on the same clock, which is what
 * identified the cause.
 *
 * Rewriting the compare register from a reference at most one heartbeat old
 * shortens that lever arm from about 990 ms to about 22 ms. Nothing else
 * changes: the same second is still targeted and the edge is still produced by
 * the comparator.
 */
void pps_refine(void);
/** @brief Count edges emitted since boot.
 * @return Edge count.
 */
uint32_t pps_edges(void);
/** @brief What one edge looked like, for the console line Part 6 requires. */
struct pps_report {
	uint64_t global_us;
	uint32_t local_ticks;
	int32_t ratio;
	int32_t correction_us;
	uint32_t edge;
};
/** @brief Collect the most recent edge, once.
 *
 * The timer interrupt records an edge and returns; it must never print, since
 * a console line at 115200 baud takes milliseconds and would hold off the CAN
 * receive workers every second. A thread calls this and does the printing.
 * @param out Destination, written only when true is returned.
 * @return True when an edge has happened since the last call.
 */
bool pps_take_report(struct pps_report *out);
#endif
```

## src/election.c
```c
/*
 * SPDX-License-Identifier: Apache-2.0
 */
/** @file election.c
 * @brief A small deterministic generator for election timeouts.
 */
#include "election.h"

/** @brief Multiplier of the 32 bit xorshift mix applied after each step.
 *
 * Plain xorshift32 has visibly poor low bits, and the timeout uses a modulus,
 * which reads exactly those bits. Multiplying by an odd constant before taking
 * the modulus spreads the entropy down, which is the standard xorshift
 * multiply construction. This is not a cryptographic generator and does not
 * need to be: it only has to give each node a different, repeatable draw.
 */
#define MIX 0x2545f491U

/** @brief Advance the generator.
 * @param state Generator state, advanced in place.
 * @return Next value.
 */
static uint32_t next(uint32_t *state)
{
	uint32_t x = *state;

	x ^= x << 13;
	x ^= x >> 17;
	x ^= x << 5;
	*state = x;
	return x * MIX;
}

/** @brief Start the per node sequence.
 * @param state Generator state to initialize.
 * @param seed Configured seed, shared by every node.
 * @param node Local node ID, which makes the sequence differ per node.
 */
void election_seed(uint32_t *state, uint32_t seed, int node)
{
	/*
	 * Mix the node in rather than adding it, so neighbouring node IDs do not
	 * produce neighbouring sequences. Never zero, which xorshift cannot
	 * leave.
	 */
	*state = (seed * 2654435761U) ^ ((uint32_t)node * 2246822519U);
	if (*state == 0) {
		*state = 1;
	}
	/* Discard the first few, which still carry the seed's structure. */
	for (int i = 0; i < 4; i++) {
		(void)next(state);
	}
}

/** @brief Draw the next election timeout.
 * @param state Generator state, advanced in place.
 * @param base_ms Fixed part, missed_heartbeats * heartbeat_ms.
 * @param jitter_ms Width of the random part; zero gives base_ms exactly.
 * @return Timeout in milliseconds.
 */
uint32_t election_timeout_ms(uint32_t *state, uint32_t base_ms, uint32_t jitter_ms)
{
	if (jitter_ms == 0) {
		return base_ms;
	}
	return base_ms + next(state) % jitter_ms;
}
```
